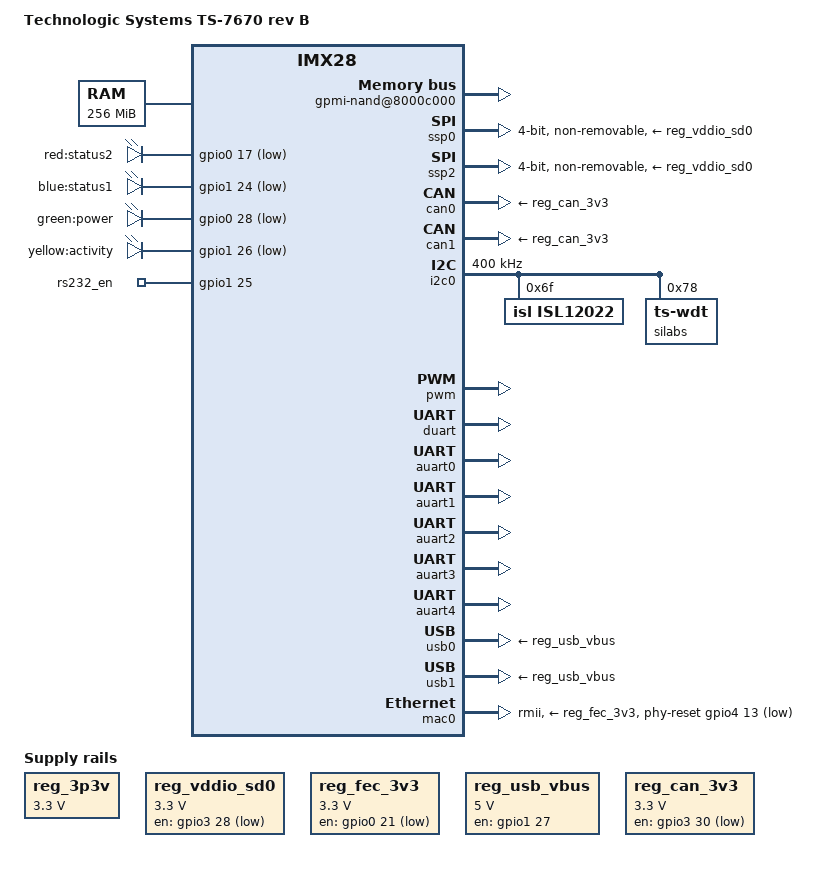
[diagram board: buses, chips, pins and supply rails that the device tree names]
/*
 * Copyright 2014 VRT Systems
 * Copyright 2012 Freescale Semiconductor, Inc.
 *
 * The code contained herein is licensed under the GNU General Public
 * License. You may obtain a copy of the GNU General Public License
 * Version 2 or later at the following locations:
 *
 * http://www.opensource.org/licenses/gpl-license.html
 * http://www.gnu.org/copyleft/gpl.html
 */

/dts-v1/;
#include "imx28.dtsi"

/ {
	model = "Technologic Systems TS-7670 rev B";
	compatible = "technologic,ts-7670b", "fsl,imx28";

	memory {
		reg = <0x40000000 0x10000000>;
	};

	apb@80000000 {
		apbh@80000000 {
			gpmi-nand@8000c000 {
				pinctrl-names = "default";
				pinctrl-0 = <&gpmi_pins_ts7400
					&gpmi_status_cfg>;
				status = "okay";
			};

			ssp0: ssp@80010000 {
				compatible = "fsl,imx28-mmc";
				pinctrl-names = "default";
				pinctrl-0 = <&mmc0_4bit_pins_a
					&mmc0_sck_cfg>;
				bus-width = <4>;
				vmmc-supply = <&reg_vddio_sd0>;
				status = "okay";
				broken-cd;
				non-removable;
			};

			ssp2: ssp@80014000 {
				compatible = "fsl,imx28-mmc";
				pinctrl-names = "default";
				pinctrl-0 = <&mmc2_pins_ts7400
					&mmc2_sck_cfg>;
				bus-width = <4>;
				vmmc-supply = <&reg_vddio_sd0>;
				status = "okay";
				broken-cd;
				non-removable;
			};

			pinctrl@80018000 {
				pinctrl-names = "default";
				pinctrl-0 = <&hog_pins_a>;

				mmc2_pins_ts7400: mmc2-4bit@0 {
					reg = <0>;
					fsl,pinmux-ids = <
						MX28_PAD_SSP0_DATA4__SSP2_D0
						MX28_PAD_SSP2_SS1__SSP2_D1
						MX28_PAD_SSP2_SS2__SSP2_D2
						MX28_PAD_SSP0_DATA5__SSP2_D3
						MX28_PAD_SSP0_DATA6__SSP2_CMD
						MX28_PAD_SSP0_DATA7__SSP2_SCK
					>;
					/*
					 * MX28_PAD_SSP0_DATA7__SSP2_SCK is
					 * handled by mmc2_sck_cfg
					 */
					fsl,drive-strength = <MXS_DRIVE_8mA>;
					fsl,voltage = <MXS_VOLTAGE_HIGH>;
					fsl,pull-up = <MXS_PULL_ENABLE>;
				};

				hog_pins_a: hog@0 {
					reg = <0>;
					fsl,pinmux-ids = <
						MX28_PAD_LCD_RESET__GPIO_3_30
						MX28_PAD_LCD_CS__GPIO_1_27
						MX28_PAD_GPMI_RDY1__GPIO_0_21
					>;
					fsl,drive-strength = <MXS_DRIVE_4mA>;
					fsl,voltage = <MXS_VOLTAGE_HIGH>;
					fsl,pull-up = <MXS_PULL_DISABLE>;
				};

				red_led_pin_gpio0_17: red_led_gpio0_17@0 {
					reg = <0>;
					fsl,pinmux-ids = <
						MX28_PAD_GPMI_CE1N__GPIO_0_17
					>;
					fsl,drive-strength = <MXS_DRIVE_4mA>;
					fsl,voltage = <MXS_VOLTAGE_HIGH>;
					fsl,pull-up = <MXS_PULL_DISABLE>;
				};

				blue_led_pin_gpio1_24: blue_led_gpio1_24@0 {
					reg = <0>;
					fsl,pinmux-ids = <
						MX28_PAD_LCD_RD_E__GPIO_1_24
					>;
					fsl,drive-strength = <MXS_DRIVE_4mA>;
					fsl,voltage = <MXS_VOLTAGE_HIGH>;
					fsl,pull-up = <MXS_PULL_DISABLE>;
				};

				green_led_pin_gpio0_28: green_led_gpio0_28@0 {
					reg = <0>;
					fsl,pinmux-ids = <
						MX28_PAD_GPMI_RESETN__GPIO_0_28
					>;
					fsl,drive-strength = <MXS_DRIVE_4mA>;
					fsl,voltage = <MXS_VOLTAGE_HIGH>;
					fsl,pull-up = <MXS_PULL_DISABLE>;
				};

				yellow_led_pin_gpio1_26: yellow_led_gpio1_26@0 {
					reg = <0>;
					fsl,pinmux-ids = <
						MX28_PAD_LCD_RS__GPIO_1_26
					>;
					fsl,drive-strength = <MXS_DRIVE_4mA>;
					fsl,voltage = <MXS_VOLTAGE_HIGH>;
					fsl,pull-up = <MXS_PULL_DISABLE>;
				};

				rs232_en_led_pin_gpio1_26: rs232_en_led_gpio1_25@0 {
					reg = <0>;
					fsl,pinmux-ids = <
						MX28_PAD_LCD_WR_RWN__GPIO_1_25
					>;
					fsl,drive-strength = <MXS_DRIVE_4mA>;
					fsl,voltage = <MXS_VOLTAGE_LOW>;
					fsl,pull-up = <MXS_PULL_DISABLE>;
				};

				gpmi_pins_ts7400: gpmi-nand@0 {
					reg = <0>;
					fsl,pinmux-ids = <
						MX28_PAD_GPMI_D00__GPMI_D0
						MX28_PAD_GPMI_D01__GPMI_D1
						MX28_PAD_GPMI_D02__GPMI_D2
						MX28_PAD_GPMI_D03__GPMI_D3
						MX28_PAD_GPMI_D04__GPMI_D4
						MX28_PAD_GPMI_D05__GPMI_D5
						MX28_PAD_GPMI_D06__GPMI_D6
						MX28_PAD_GPMI_D07__GPMI_D7
						MX28_PAD_GPMI_CE0N__GPMI_CE0N
						MX28_PAD_GPMI_RDY0__GPMI_READY0
						MX28_PAD_GPMI_RDN__GPMI_RDN
						MX28_PAD_GPMI_WRN__GPMI_WRN
						MX28_PAD_GPMI_ALE__GPMI_ALE
						MX28_PAD_GPMI_CLE__GPMI_CLE
					>;
					fsl,drive-strength = <MXS_DRIVE_4mA>;
					fsl,voltage = <MXS_VOLTAGE_HIGH>;
					fsl,pull-up = <MXS_PULL_DISABLE>;
				};
				auart4_pins: auart4@0 {
					reg = <0>;
					fsl,pinmux-ids = <
						MX28_PAD_SAIF0_SDATA0__AUART4_TX
						MX28_PAD_SAIF0_BITCLK__AUART4_RX
					>;
					fsl,drive-strength = <MXS_DRIVE_4mA>;
					fsl,voltage = <MXS_VOLTAGE_HIGH>;
					fsl,pull-up = <MXS_PULL_DISABLE>;
				};

#if 0
				spi_pins_ts7400: spi0-ts7400@0 {
					reg = <0>;
					/*
					 * SAIF0_MCLK = MOSI
					 * SAIF0_LRCLK = MISO
					 * SAIF1_SDATA0 = CLK
					 * PWM4 = CS
					 */
					fsl,pinmux-ids = <
						MX28_PAD_SAIF0_MCLK__GPIO_3_20
						MX28_PAD_SAIF0_LRCLK__GPIO_3_21
						MX28_PAD_SAIF1_SDATA0__GPIO_3_26
						MX28_PAD_PWM4__GPIO_3_29
					>;
					fsl,drive-strength = <MXS_DRIVE_4mA>;
					fsl,voltage = <MXS_VOLTAGE_HIGH>;
					fsl,pull-up = <MXS_PULL_DISABLE>;
				};
#endif
			};

			can0: can@80032000 {
				pinctrl-names = "default";
				pinctrl-0 = <&can0_pins_a>;
				xceiver-supply = <&reg_can_3v3>;
				status = "okay";
			};

			can1: can@80034000 {
				pinctrl-names = "default";
				pinctrl-0 = <&can1_pins_a>;
				xceiver-supply = <&reg_can_3v3>;
				status = "okay";
			};
		};

		apbx@80040000 {
			i2c0: i2c@80058000 {
				pinctrl-names = "default";
				pinctrl-0 = <&i2c0_pins_a>;
				clock-frequency = <400000>;
				status = "okay";

				isl12022@0x6f {
					compatible = "isl,isl12022";
					reg = <0x6f>;
				};

				silabs: silabs@78 {
					compatible = "ts-wdt";
					reg = <0x78>;
				};
			};

			pwm: pwm@80064000 {
				pinctrl-names = "default";
				pinctrl-0 = <&pwm2_pins_a>;
				status = "okay";
			};

			duart: serial@80074000 {
				pinctrl-names = "default";
				pinctrl-0 = <&duart_pins_a>;
				status = "okay";
			};

			auart0: serial@8006a000 {
				pinctrl-names = "default";
				pinctrl-0 = <&auart0_pins_a>;
				fsl,uart-has-rtscts;
				status = "okay";
			};

			auart1: serial@8006c000 {
				pinctrl-names = "default";
				pinctrl-0 = <&auart1_2pins_a>;
				status = "okay";
			};

			auart2: serial@8006e000 {
				pinctrl-names = "default";
				pinctrl-0 = <&auart2_2pins_a>;
				pwms = <&pwm 2 9600 0>;
				status = "okay";
			};

			auart3: serial@80070000 {
				pinctrl-names = "default";
				pinctrl-0 = <&auart3_2pins_a>;
				status = "okay";
			};

			auart4: serial@80072000 {
				pinctrl-names = "default";
				pinctrl-0 = <&auart4_pins>;
				status = "okay";
			};

			usbphy0: usbphy@8007c000 {
				status = "okay";
			};

			usbphy1: usbphy@8007e000 {
				status = "okay";
			};
		};
	};

	ahb@80080000 {
		usb0: usb@80080000 {
			vbus-supply = <&reg_usb_vbus>;
			status = "okay";
		};

		usb1: usb@80090000 {
			vbus-supply = <&reg_usb_vbus>;
			status = "okay";
		};

		mac0: ethernet@800f0000 {
			phy-mode = "rmii";
			pinctrl-names = "default";
			pinctrl-0 = <&mac0_pins_a>;
			phy-supply = <&reg_fec_3v3>;
			phy-reset-gpios = <&gpio4 13 0>;
			phy-reset-duration = <100>;
			status = "okay";
		};
	};

	regulators {
		compatible = "simple-bus";
		#address-cells = <1>;
		#size-cells = <0>;

		reg_3p3v: regulator@0 {
			compatible = "regulator-fixed";
			reg = <0>;
			regulator-name = "3P3V";
			regulator-min-microvolt = <3300000>;
			regulator-max-microvolt = <3300000>;
			regulator-always-on;
		};

		reg_vddio_sd0: regulator@1 {
			compatible = "regulator-fixed";
			reg = <1>;
			regulator-name = "vddio-sd0";
			regulator-min-microvolt = <3300000>;
			regulator-max-microvolt = <3300000>;
			gpio = <&gpio3 28 0>;
			regulator-always-on;
		};

		reg_fec_3v3: regulator@2 {
			compatible = "regulator-fixed";
			reg = <2>;
			regulator-name = "fec-3v3";
			regulator-min-microvolt = <3300000>;
			regulator-max-microvolt = <3300000>;
			gpio = <&gpio0 21 0>;
			regulator-always-on;
		};

		reg_usb_vbus: regulator@3 {
			compatible = "regulator-fixed";
			reg = <3>;
			regulator-name = "usb_vbus";
			regulator-min-microvolt = <5000000>;
			regulator-max-microvolt = <5000000>;
			gpio = <&gpio1 27 0>;
			enable-active-high;
			regulator-always-on;
		};

		reg_can_3v3: regulator@7 {
			compatible = "regulator-fixed";
			reg = <7>;
			regulator-name = "can-3v3";
			regulator-min-microvolt = <3300000>;
			regulator-max-microvolt = <3300000>;
			gpio = <&gpio3 30 0>;
		};
	};

	leds {
		compatible = "gpio-leds";
		pinctrl-names = "default";
		pinctrl-0 = <&red_led_pin_gpio0_17
				&blue_led_pin_gpio1_24
				&green_led_pin_gpio0_28
				&yellow_led_pin_gpio1_26
				&rs232_en_led_pin_gpio1_26>;

		status2 {
			label = "red:status2";
			/* GPMI_CE1N */
			gpios = <&gpio0 17 1>;
			linux,default-trigger = "mmc1";
		};

		status1 {
			label = "blue:status1";
			/* LCD_RD_E */
			gpios = <&gpio1 24 1>;
			linux,default-trigger = "none";
		};

		power {
			label = "green:power";
			/* GPMI_RESETN */
			gpios = <&gpio0 28 1>;
			linux,default-trigger = "heartbeat";
		};

		activity {
			label = "yellow:activity";
			/* LCD_RS */
			gpios = <&gpio1 26 1>;
			linux,default-trigger = "mmc0";
		};

		/* Kludge, to permit turning RS-232 transceivers on/off */
		rs232_en {
			label = "rs232_en";
			/* LCD_RWM */
			gpios = <&gpio1 25 0>;
			linux,default-trigger = "default-on";
		};
	};
#if 0
	spi0 {
		compatible = "spi-gpio";
		pinctrl-names = "default";
		pinctrl-0 = <&spi_pins_ts7400>;
		status = "okay";
		bus-num = <0>;
		gpio-sck = <&gpio3 26 1>; /* SAIF1_SDATA0 */
		gpio-mosi = <&gpio3 21 0>; /* SAIF0_LRCLK */
		gpio-miso = <&gpio3 20 0>; /* SAIF0_MCLK */
		cs-gpios = <&gpio3 29 0>; /* PWM4 */
		num-chipselects = <1>;
		#address-cells = <1>;
		#size-cells = <0>;

		/*
		 * TODO: TS-7400/TS-7670 companion MCU goes here.
		 * For now, just expose it to userspace for tshwctl and friends.
		 */
		spidev@0x00 {
			compatible = "spidev";
			spi-max-frequency = <30000000>;
			reg = <0>;
		};
	};
#endif
};
